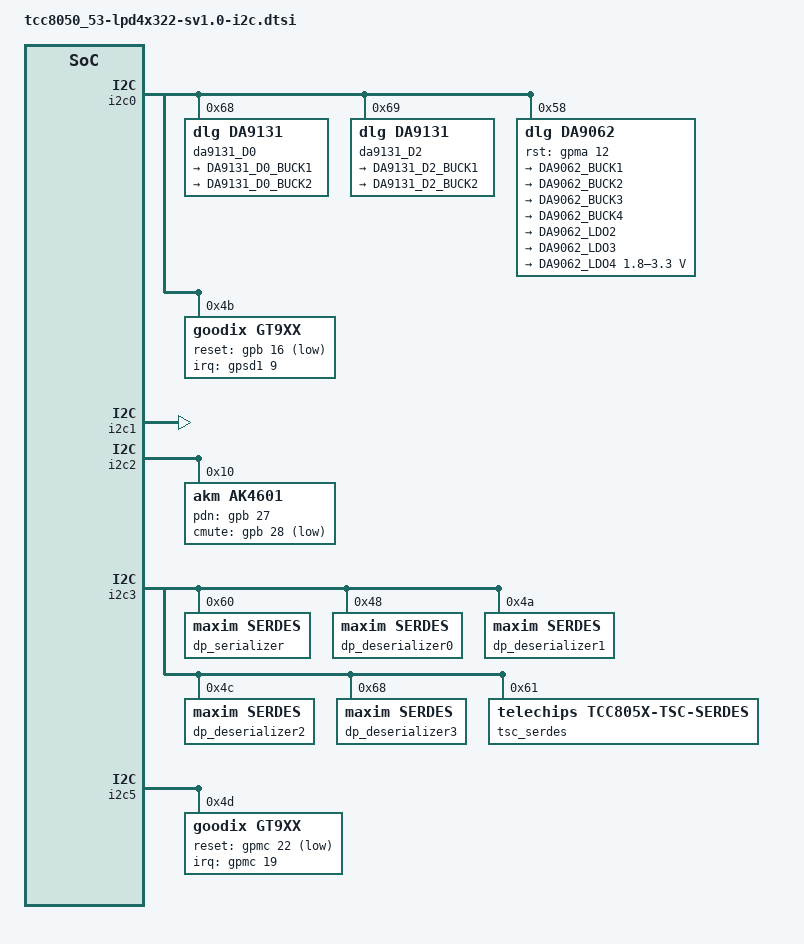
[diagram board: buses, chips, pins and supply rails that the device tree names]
// SPDX-License-Identifier: (GPL-2.0-or-later OR MIT)
/*
 * Copyright (C) 2023 Telechips Inc.
 */

#include <dt-bindings/gpio/gpio.h>
#include <dt-bindings/interrupt-controller/arm-gic.h>

&i2c0 {
	status = "okay";
	port-mux = <6>;
	pinctrl-names = "default", "sleep";
	pinctrl-0 = <&i2c6_bus_active>;
	pinctrl-1 = <&i2c6_bus_sleep>;

	#address-cells = <1>;
	#size-cells = <0>;

	/* Use burst-mode for touch */
	burst-mode;

	/* Retransmission due to nack response from mxt touch */
	retry-count = <100>;
	cmd-timeout = <2000>;
	recovery-gpios = <&gpa 22 0>, <&gpa 23 0>;

	/* pmic da9131-D0 */
	da9131_D0: pmic@68 {
		compatible = "dlg,da9131";
		reg = <0x68>;

		regulators {
			DA9131_D0_BUCK1: buck1 {
				regulator-name = "core_0p8";
				regulator-always-on;
				regulator-boot-on;
			};

			DA9131_D0_BUCK2: buck2 {
				regulator-name = "gb_0p8";
				regulator-always-on;
				regulator-boot-on;
			};
		};
	}; /* pmic da9131-D0 */

	/* pmic da9131-D2 */
	da9131_D2: pmic@69 {
		compatible = "dlg,da9131";
		reg = <0x69>;

		regulators {
			DA9131_D2_BUCK1: buck1 {
				regulator-name = "cpu_1p0";
				regulator-always-on;
				regulator-boot-on;
			};

			DA9131_D2_BUCK2: buck2 {
				regulator-name = "io_3p3";
				regulator-always-on;
				regulator-boot-on;
			};
		};
	}; /* pmic da9131-D2 */

	/* pmic da9062 */
	da9062: pmic@58 {
		compatible = "dlg,da9062";
		reg = <0x58>;
		rst-gpios = <&gpma 12 0>;

		da9062_gpio: gpio {
			compatible = "dlg,da9062-gpio";
			gpio-controller;
			#gpio-cells = <2>;
		};

		regulators {
			DA9062_BUCK1: buck1 {
				regulator-name = "memq_1p1";
				regulator-always-on;
				regulator-boot-on;

				regulator-state-mem {
					regulator-on-in-suspend;
				};
			};

			DA9062_BUCK2: buck2 {
				regulator-name = "cpu_0p9v";
				regulator-always-on;
				regulator-boot-on;
			};

			DA9062_BUCK3: buck3 {
				regulator-name = "io_1p8";
				regulator-always-on;
				regulator-boot-on;
			};

			DA9062_BUCK4: buck4 {
				regulator-name = "memq_0p6";
				regulator-always-on;
				regulator-boot-on;
			};

			DA9062_LDO2: ldo2 {
				regulator-name = "mem_1p8";
				regulator-always-on;
				regulator-boot-on;

				regulator-state-mem {
					regulator-on-in-suspend;
				};
			};

			DA9062_LDO3: ldo3 {
				regulator-name = "mipi_1p2";
				regulator-always-on;
				regulator-boot-on;
			};

			DA9062_LDO4: ldo4 {
				regulator-name = "sdio_pwr";
				regulator-always-on;
				regulator-boot-on;
				regulator-min-microvolt = <1800000>;
				regulator-max-microvolt = <3300000>;
			};
		};
	}; /* pmic da9062 */

	/* BOE panel touch IC */
	mxt_touch@4b {
		compatible = "atmel,maxtouch";
		status = "disabled";
		reg = <0x4b>;
		pinctrl-names = "default", "sleep";
		pinctrl-0 = <&boe_tsc0_default>;
		pinctrl-1 = <&boe_tsc0_default>;

		interrupt-parent = <&gpsd1>;
		interrupts = <9 IRQ_TYPE_EDGE_FALLING>;
		reset-gpio = <&gpb 16 GPIO_ACTIVE_LOW>;

		tsc-serdes-handle = <&tsc_serdes>;
	};

	/* AUO panel touch IC */
	gt9xx@4b {
		compatible = "goodix,gt9xx";
		reg = <0x4b>;
		status = "okay";
		interrupt-parent = <&gpsd1>;
		interrupts = <9 IRQ_TYPE_EDGE_FALLING>;
		pinctrl-names = "default", "int-output-low","int-output-high", "int-input", "sleep";
		pinctrl-0 = <&auo_tsc0_int_default>;
		pinctrl-1 = <&auo_tsc0_int_output_low>;
		pinctrl-2 = <&auo_tsc0_int_output_high>;
		pinctrl-3 = <&auo_tsc0_int_input>;
		pinctrl-4 = <&auo_tsc0_int_default>;

		reset-gpios = <&gpb 16 GPIO_ACTIVE_LOW>;
		irq-gpios = <&gpsd1 9 IRQ_TYPE_EDGE_FALLING>;
		irq-flags = <2>;

		touchscreen-max-id = <11>;
		touchscreen-size-x = <1920>;
		touchscreen-size-y = <720>;
		touchscreen-max-w = <512>;
		touchscreen-max-p = <512>;
		touchscreen-key-map = <172>, <158>; /*KEY_HOMEPAGE=172, KEY_BACK=158，KEY_MENU=139*/

		goodix,slide-wakeup = <0>;
		goodix,type-a-report = <0>;
		goodix,driver-send-cfg = <0>;
		goodix,resume-in-workqueue = <0>;
		goodix,int-sync = <1>;
		goodix,swap-x2y = <0>;
		goodix,esd-protect = <1>;
		goodix,auto-update-cfg = <0>;
		goodix,power-off-sleep = <0>;
		goodix,pen-suppress-finger = <0>;
		goodix,cfg-group0 = [
			53 D0 02 00 05 05 F5 D5 21 48 2D 0F 5A 41 0E 05 00 00 32 32 20 00 05 14 14 1A 14 8B 2B 00
		];
		tsc-serdes-handle = <&tsc_serdes>;
	};
};

&i2c1 {
	status = "okay";
	port-mux = <22>; /* [0]SCL [1]SDA */
	pinctrl-names = "default", "sleep";
	pinctrl-0 = <&i2c22_bus_active>;
	pinctrl-1 = <&i2c22_bus_sleep>;

	#address-cells = <1>;
	#size-cells = <0>;
};

&i2c2 {
	status = "okay";
	port-mux = <13>; /* [0]SCL [1]SDA */
	pinctrl-names = "default", "sleep";
	pinctrl-0 = <&i2c13_bus_active>;
	pinctrl-1 = <&i2c13_bus_sleep>;

	#address-cells = <1>;
	#size-cells = <0>;

	ak4601: ak4601@10 {
		compatible = "akm,ak4601";
		ak4601,pdn-gpio = <&gpb 27 0>;
		cmute-gpios = <&gpb 28 1>;     //CODEC_MUTE    0: active high, 1: active low
		//amute-gpios = <&gpmb 27 1>;       //AMP_MUTE      0: active high, 1: active low
		//stanby-gpios = <&gpmb 26 0>;     //AMP_STBY      0: active high, 1: active low
		reg = <0x10>;
	};
};

&i2c3 {
	status = "okay";
	port-mux = <11>;
	pinctrl-names = "default", "sleep";
	pinctrl-0 = <&i2c11_bus_active>;
	pinctrl-1 = <&i2c11_bus_sleep>;

	#address-cells = <1>;
	#size-cells = <0>;

	/* Use burst-mode for serdes */
	burst-mode;

	/* CarPlay require ack timeout count: 500 */
	retry-count = <500>;

	dp_serializer: max96851@60 {
		compatible	= "maxim,serdes";
		reg		= <0x60>;
	};

	dp_deserializer0: max96878@48 {
		compatible	= "maxim,serdes";
		reg		= <0x48>;
	};

	dp_deserializer1: max96878@4a {
		compatible	= "maxim,serdes";
		reg		= <0x4a>;
	};

	dp_deserializer2: max96878@4c {
		compatible	= "maxim,serdes";
		reg		= <0x4c>;
	};

	dp_deserializer3: max96878@68 {
		compatible	= "maxim,serdes";
		reg		= <0x68>;
	};

	tsc_serdes: tsc_serdes@61 {
		compatible = "telechips,tcc805x-tsc-serdes";
		status = "okay";
		reg = <0x61>;
		max-disp-num = <3>;
		/* 0x01: TCC803XPE_EVB
		   0x02: TCC8059_EVB
		   0x04: TCC8050_53_EVB
		   0x08: TCC8070_EVB */
		board-type = <0x04>;
		/* 0xBA: AUO Touch IC(goodix)
		   0x94: BOE Touch IC(atmel) */
		lcd-touch-addr = <0xBA>;
	};
};

&i2c5 {
	status = "okay";
	port-mux = <37>;
	pinctrl-names = "default", "sleep";
	pinctrl-0 = <&i2c37_bus_active>;
	pinctrl-1 = <&i2c37_bus_sleep>;

	#address-cells = <1>;
	#size-cells = <0>;

	/* Use burst-mode for touch*/
	burst-mode;

	/* Retransmission due to nack response from mxt touch */
	retry-count = <100>;
	cmd-timeout = <2000>;
	recovery-gpios = <&gpmc 16 0>, <&gpmc 17 0>;

	/* BOE panel touch IC */
	mxt_touch@4d {
		compatible = "atmel,maxtouch";
		status = "disabled";
		reg = <0x4d>;
		pinctrl-names = "default", "sleep";
		pinctrl-0 = <&boe_tsc1_default>;
		pinctrl-1 = <&boe_tsc1_default>;

		interrupt-parent = <&gpmc>;
		interrupts = <19 IRQ_TYPE_EDGE_FALLING>;
		reset-gpio = <&gpmc 22 GPIO_ACTIVE_LOW>;
		tsc-serdes-handle = <&tsc_serdes>;
	};

	/* AUO panel touch IC */
	gt9xx@4d {
		compatible = "goodix,gt9xx";
		reg = <0x4d>;
		status = "okay";
		interrupt-parent = <&gpmc>;
		interrupts = <19 IRQ_TYPE_EDGE_FALLING>;
		pinctrl-names = "default", "int-output-low","int-output-high", "int-input", "sleep";
		pinctrl-0 = <&auo_tsc1_int_default>;
		pinctrl-1 = <&auo_tsc1_int_output_low>;
		pinctrl-2 = <&auo_tsc1_int_output_high>;
		pinctrl-3 = <&auo_tsc1_int_input>;
		pinctrl-4 = <&auo_tsc1_int_default>;

		reset-gpios = <&gpmc 22 GPIO_ACTIVE_LOW>;
		irq-gpios = <&gpmc 19 IRQ_TYPE_EDGE_FALLING>;
		irq-flags = <2>;

		touchscreen-max-id = <11>;
		touchscreen-size-x = <1920>;
		touchscreen-size-y = <720>;
		touchscreen-max-w = <512>;
		touchscreen-max-p = <512>;
		touchscreen-key-map = <172>, <158>; /*KEY_HOMEPAGE=172, KEY_BACK=158，KEY_MENU=139*/

		goodix,slide-wakeup = <0>;
		goodix,type-a-report = <0>;
		goodix,driver-send-cfg = <0>;
		goodix,resume-in-workqueue = <0>;
		goodix,int-sync = <1>;
		goodix,swap-x2y = <0>;
		goodix,esd-protect = <1>;
		goodix,auto-update-cfg = <0>;
		goodix,power-off-sleep = <0>;
		goodix,pen-suppress-finger = <0>;
		goodix,cfg-group0 = [
			53 D0 02 00 05 05 F5 D5 21 48 2D 0F 5A 41 0E 05 00 00 32 32 20 00 05 14 14 1A 14 8B 2B 00
		];
		tsc-serdes-handle = <&tsc_serdes>;
	};
};

&i2c6 {
	status = "disabled";
	port-mux = <35>;
	pinctrl-names = "default", "sleep";
	pinctrl-0 = <&i2c35_bus_active>;
	pinctrl-1 = <&i2c35_bus_sleep>;

	#address-cells = <1>;
	#size-cells = <0>;
};

&i2c7 {
	status = "disabled";
	port-mux = <12>;
	pinctrl-names = "default", "sleep";
	pinctrl-0 = <&i2c12_bus_active>;
	pinctrl-1 = <&i2c12_bus_sleep>;

	#address-cells = <1>;
	#size-cells = <0>;
};


&pinctrl {
	i2c6_bus_active: i2c6_bus_active {
		telechips,pins = "gpa-22", "gpa-23";
		telechips,pin-function = <8>;
		telechips,input_buffer_enable;
		telechips,no-pull;
	};

	i2c6_bus_sleep: i2c6_bus_sleep {
		telechips,pins = "gpa-22", "gpa-23";
		telechips,pin-function = <0>;
		telechips,no-pull;
	};

	i2c11_bus_active: i2c11_bus_active {
		telechips,pins = "gpb-19", "gpb-20";
		telechips,pin-function = <8>;
		telechips,input_buffer_enable;
		telechips,no-pull;
	};

	i2c11_bus_sleep: i2c11_bus_sleep {
		telechips,pins = "gpb-19", "gpb-20";
		telechips,pin-function = <0>;
		telechips,no-pull;
	};

	i2c12_bus_active: i2c12_bus_active {
		telechips,pins = "gpb-21", "gpb-22";
		telechips,pin-function = <8>;
		telechips,input_buffer_enable;
		telechips,no-pull;
	};

	i2c12_bus_sleep: i2c12_bus_sleep {
		telechips,pins = "gpb-21", "gpb-22";
		telechips,pin-function = <0>;
		telechips,no-pull;
	};

	i2c13_bus_active: i2c13_bus_active {
		telechips,pins = "gpb-23", "gpb-24";
		telechips,pin-function = <8>;
		telechips,input_buffer_enable;
		telechips,no-pull;
	};

	i2c13_bus_sleep: i2c13_bus_sleep {
		telechips,pins = "gpb-23", "gpb-24";
		telechips,pin-function = <0>;
		telechips,no-pull;
	};

	i2c22_bus_active: i2c22_bus_active {
		telechips,pins = "gph-4", "gph-5";
		telechips,pin-function = <9>;
		telechips,input_buffer_enable;
		telechips,no-pull;
	};

	i2c22_bus_sleep: i2c22_bus_sleep {
		telechips,pins = "gph-4", "gph-5";
		telechips,pin-function = <0>;
		telechips,no-pull;
	};

	i2c35_bus_active: i2c35_bus_active {
		telechips,pins = "gpmc-4", "gpmc-5";
		telechips,pin-function = <8>;
		telechips,input_buffer_enable;
		telechips,no-pull;
	};

	i2c35_bus_sleep: i2c35_bus_sleep {
		telechips,pins = "gpmc-4", "gpmc-5";
		telechips,pin-function = <0>;
		telechips,no-pull;
	};

	i2c37_bus_active: i2c37_bus_active {
		telechips,pins = "gpmc-16", "gpmc-17";
		telechips,pin-function = <8>;
		telechips,input_buffer_enable;
		telechips,no-pull;
	};

	i2c37_bus_sleep: i2c37_bus_sleep {
		telechips,pins = "gpmc-16", "gpmc-17";
		telechips,pin-function = <0>;
		telechips,no-pull;
	};

	/* BOE panel touch IC*/
	boe_tsc0_default: boe_tsc0_default {
		telechips,pins = "gpsd1-9", "gpb-16";
		telechips,pin-function = <0>;
		telechips,no-pull;
		telechips,input_buffer_enable;
	};

	boe_tsc1_default: boe_tsc1_default {
		telechips,pins = "gpmc-19", "gpmc-22";
		telechips,pin-function = <0>;
		telechips,no-pull;
		telechips,input_buffer_enable;
	};

	/* AUO panel touch IC */
	auo_tsc0_int_default: auo_tsc0_int_default {
		telechips,pins = "gpsd1-9", "gpb-16";
		telechips,pin-function = <0>;
		telechips,no-pull;
		telechips,input_buffer_enable;
		telechips,input-enable;
	};

	auo_tsc0_int_output_low: auo_tsc0_int_output_low {
		telechips,pins = "gpsd1-9";
		telechips,pin-function = <0>;
		telechips,output-low;
	};

	auo_tsc0_int_output_high: auo_tsc0_int_output_high {
		telechips,pins = "gpsd1-9";
		telechips,pin-function = <0>;
		telechips,output-high;
	};

	auo_tsc0_int_input: auo_tsc0_int_input {
		telechips,pins = "gpsd1-9";
		telechips,pin-function = <0>;
		telechips,no-pull;
		telechips,input_buffer_enable;
		telechips,input-enable;
	};

	auo_tsc1_int_default: auo_tsc1_int_default {
		telechips,pins = "gpmc-19", "gpmc-22";
		telechips,pin-function = <0>;
		telechips,no-pull;
		telechips,input_buffer_enable;
		telechips,input-enable;
	};

	auo_tsc1_int_output_low: auo_tsc1_int_output_low {
		telechips,pins = "gpmc-19";
		telechips,pin-function = <0>;
		telechips,output-low;
	};

	auo_tsc1_int_output_high: auo_tsc1_int_output_high {
		telechips,pins = "gpmc-19";
		telechips,pin-function = <0>;
		telechips,output-high;
	};

	auo_tsc1_int_input: auo_tsc1_int_input {
		telechips,pins = "gpmc-19";
		telechips,pin-function = <0>;
		telechips,no-pull;
		telechips,input_buffer_enable;
		telechips,input-enable;
	};
};
